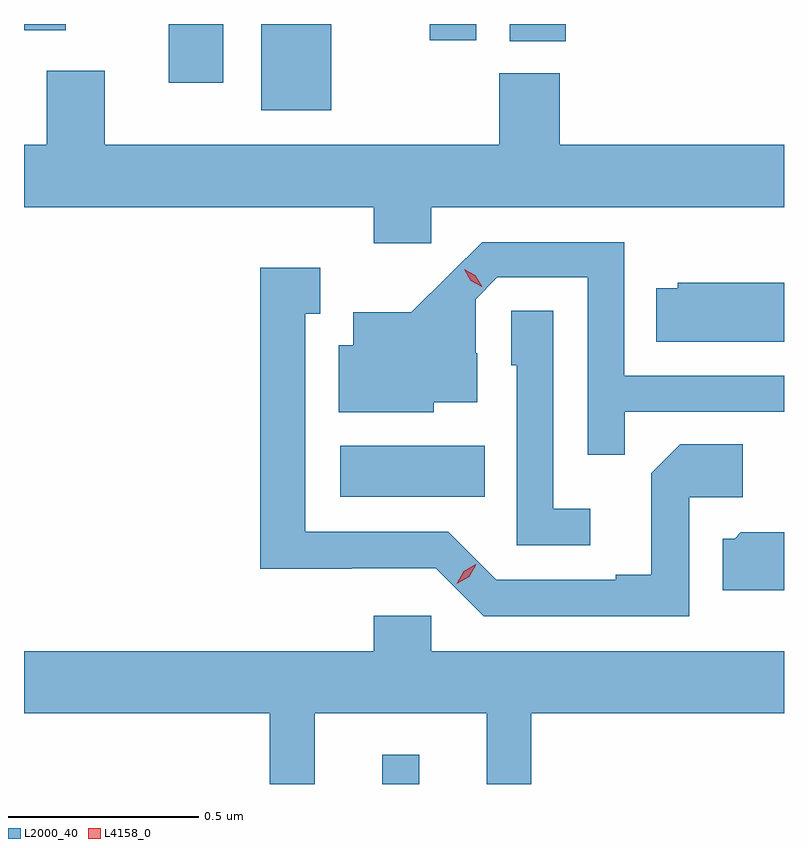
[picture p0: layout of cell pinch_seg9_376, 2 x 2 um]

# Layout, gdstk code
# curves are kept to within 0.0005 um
import gdstk
lib = gdstk.Library(unit=1e-6, precision=1e-09)
def R(c, l, rs):  # rectangles x0, y0, x1, y1
    for r in rs: c.add(gdstk.rectangle(r[:2], r[2:], *l))
def P(c, l, *ps):  # polygons
    for p in ps: c.add(gdstk.Polygon(p, *l))
L2000_40 = (2000, 40)
L4158_0 = (4158, 0)

pinch_seg9_376 = lib.new_cell('pinch_seg9_376')
R(pinch_seg9_376, L2000_40, [(610.347,1194.902,610.444,1194.979), (610.236,1195.658,610.616,1195.792), (610.028,1196.675,610.213,1196.902), (609.785,1196.748,609.928,1196.902), (610.682,1196.857,610.829,1196.902), (610.472,1196.859,610.594,1196.902), (609.404,1196.885,609.514,1196.902)])
P(pinch_seg9_376, L2000_40, [(610.654,1196.772),(610.654,1196.584),(609.616,1196.584),(609.616,1196.779),(609.464,1196.779),(609.464,1196.584),(609.404,1196.584),(609.404,1196.42),(610.325,1196.42),(610.325,1196.325),(610.476,1196.325),(610.476,1196.42),(611.404,1196.42),(611.404,1196.584),(610.814,1196.584),(610.814,1196.772)],
  [(610.985,1195.881),(611.404,1195.881),(611.404,1195.977),(610.983,1195.977),(610.983,1196.328),(610.61,1196.328),(610.423,1196.143),(610.271,1196.143),(610.271,1196.056),(610.232,1196.056),(610.232,1195.88),(610.482,1195.88),(610.482,1195.907),(610.597,1195.907),(610.597,1196.036),(610.593,1196.036),(610.593,1196.178),(610.65,1196.235),(610.887,1196.235),(610.887,1195.768),(610.985,1195.768)],
  [(611.154,1195.656),(611.296,1195.656),(611.296,1195.796),(611.131,1195.796),(611.055,1195.72),(611.055,1195.453),(610.961,1195.453),(610.961,1195.44),(610.647,1195.44),(610.521,1195.566),(610.144,1195.566),(610.144,1196.139),(610.183,1196.139),(610.183,1196.26),(610.026,1196.26),(610.026,1195.469),(610.266,1195.469),(610.266,1195.47),(610.488,1195.47),(610.614,1195.344),(611.154,1195.344)],
  [(611.404,1196.221),(611.124,1196.221),(611.124,1196.206),(611.068,1196.206),(611.068,1196.066),(611.404,1196.066)],
  [(610.894,1195.627),(610.797,1195.627),(610.797,1196.147),(610.686,1196.147),(610.686,1196.004),(610.701,1196.004),(610.701,1195.53),(610.894,1195.53)],
  [(611.404,1195.564),(611.29,1195.564),(611.274,1195.548),(611.243,1195.548),(611.243,1195.412),(611.404,1195.412)],
  [(610.622,1194.902),(610.739,1194.902),(610.739,1195.088),(611.404,1195.088),(611.404,1195.252),(610.476,1195.252),(610.476,1195.345),(610.325,1195.345),(610.325,1195.252),(609.404,1195.252),(609.404,1195.088),(610.051,1195.088),(610.051,1194.902),(610.169,1194.902),(610.169,1195.088),(610.622,1195.088)])
P(pinch_seg9_376, L4158_0, [(610.543,1195.429),(610.543,1195.429),(610.561,1195.462),(610.593,1195.48),(610.594,1195.48),(610.594,1195.48),(610.576,1195.448),(610.543,1195.429)],
  [(610.609,1196.211),(610.579,1196.226),(610.562,1196.256),(610.562,1196.256),(610.562,1196.256),(610.592,1196.241),(610.61,1196.211),(610.61,1196.211)])

lib.write_gds('pinch_seg9_376.gds')
